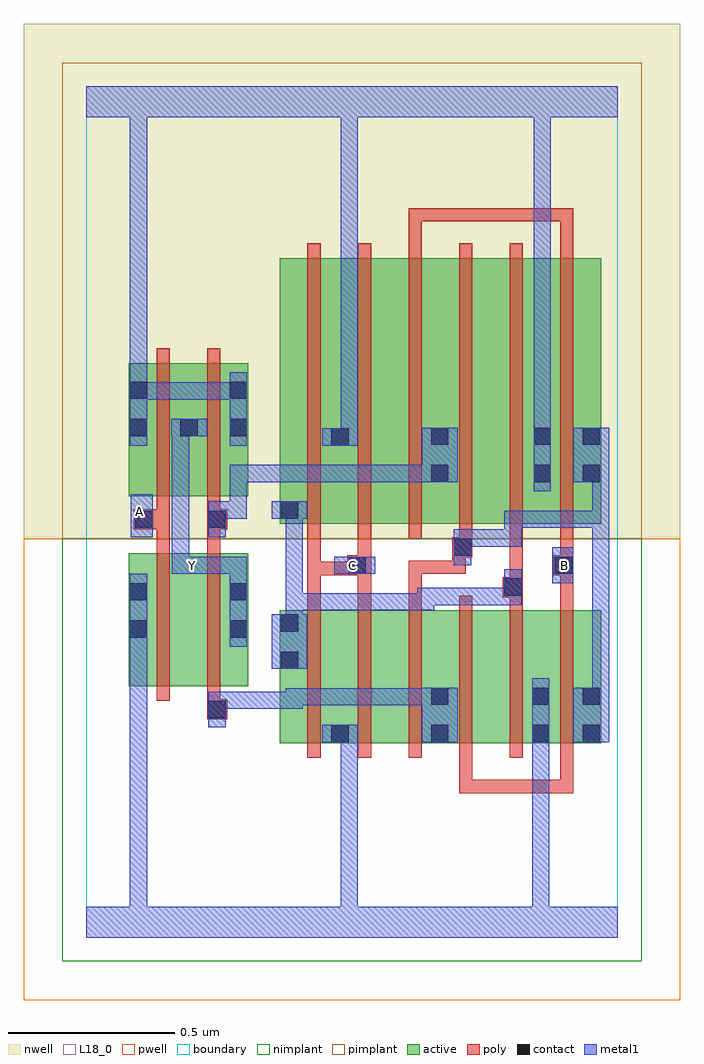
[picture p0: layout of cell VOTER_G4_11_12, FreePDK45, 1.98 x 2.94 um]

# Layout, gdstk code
import gdstk
lib = gdstk.Library(unit=1e-6, precision=1e-09)
def R(c, l, rs):  # rectangles x0, y0, x1, y1
    for r in rs: c.add(gdstk.rectangle(r[:2], r[2:], *l))
def A(c, l, x, y, w, h, nx, ny, dx, dy):  # array of equal rectangles
    R(c, l, [(x+i*dx, y+j*dy, x+i*dx+w, y+j*dy+h) for i in range(nx) for j in range(ny)])
active = (1, 0)
pwell = (2, 0)
nwell = (3, 0)
nimplant = (4, 0)
pimplant = (5, 0)
poly = (9, 0)
contact = (10, 0)
metal1 = (11, 0)
L18_0 = (18, 0)
boundary = (235, 0)

voter_g4_11_12 = lib.new_cell('VOTER_G4_11_12')
R(voter_g4_11_12, active, [(0.582,0.584,0.794,0.984), (0.734,0.584,0.914,0.984), (0.734,0.584,0.794,0.644), (0.914,0.584,1.094,0.984), (1.034,0.584,1.094,0.756), (1.034,0.584,1.218,0.984), (1.218,0.584,1.398,0.984), (1.338,0.584,1.55,0.984), (1.338,0.584,1.398,0.756), (1.49,0.584,1.55,0.984), (0.128,0.756,0.188,1.156), (0.128,0.756,0.308,1.156), (0.308,0.756,0.488,1.156), (0.428,0.756,0.488,1.156), (0.582,0.756,0.642,0.984), (0.582,1.244,0.642,2.044), (0.582,1.244,0.794,2.044), (0.734,1.244,0.794,2.044), (0.734,1.244,0.914,2.044), (0.914,1.244,1.094,2.044), (1.034,1.244,1.094,2.044), (1.034,1.244,1.218,2.044), (1.218,1.244,1.402,2.044), (1.342,1.244,1.402,2.044), (1.342,1.244,1.55,2.044), (1.49,1.244,1.55,2.044), (0.128,1.328,0.188,1.728), (0.128,1.328,0.34,1.728), (0.28,1.328,0.488,1.728), (0.28,1.328,0.34,1.644), (0.428,1.452,0.488,1.728)])
R(voter_g4_11_12, pwell, [(-0.188,-0.188,1.788,1.2)])
R(voter_g4_11_12, nwell, [(-0.188,1.2,1.788,2.748)])
R(voter_g4_11_12, nimplant, [(-0.072,-0.072,1.672,1.2)])
R(voter_g4_11_12, pimplant, [(-0.072,1.2,1.672,2.632)])
A(voter_g4_11_12, poly, 0.666, 0.54, 0.04, 0.488, 6, 1, 0.152, 0)
A(voter_g4_11_12, poly, 0.666, 1.2, 0.04, 0.888, 6, 1, 0.152, 0)
R(voter_g4_11_12, poly, [(1.122,0.434,1.162,0.58), (1.122,0.434,1.162,0.474), (1.122,0.434,1.34,0.474), (1.3,0.434,1.34,0.474), (1.3,0.434,1.34,0.474), (1.3,0.434,1.34,0.474), (1.3,0.434,1.466,0.474), (1.426,0.434,1.466,0.58), (1.426,0.434,1.466,0.474), (1.426,0.434,1.466,0.474), (1.426,0.434,1.466,0.474), (0.364,0.656,0.424,0.716), (0.364,0.676,0.404,0.752), (0.212,0.712,0.252,1.2), (0.364,0.712,0.404,1.2), (0.666,0.988,0.706,1.13), (0.818,0.988,0.858,1.13), (0.97,0.988,1.01,1.134), (1.274,0.988,1.314,1.064), (1.426,0.988,1.466,1.13), (1.254,1.024,1.314,1.084), (1.274,1.044,1.314,1.084), (1.274,1.044,1.314,1.084), (1.274,1.044,1.314,1.24), (0.666,1.09,0.706,1.13), (0.666,1.09,0.706,1.13), (0.666,1.09,0.706,1.13), (0.666,1.09,0.706,1.13), (0.666,1.09,0.706,1.13), (0.666,1.09,0.826,1.13), (0.666,1.09,0.706,1.24), (0.786,1.09,0.858,1.15), (0.818,1.09,0.858,1.13), (0.818,1.09,0.858,1.13), (1.406,1.09,1.466,1.15), (0.97,1.094,1.01,1.134), (0.97,1.094,1.01,1.134), (0.97,1.094,1.01,1.134), (0.97,1.094,1.142,1.134), (1.102,1.094,1.142,1.184), (0.818,1.11,0.858,1.24), (1.426,1.11,1.466,1.15), (1.426,1.11,1.466,1.15), (1.426,1.11,1.466,1.24), (1.102,1.144,1.142,1.184), (1.102,1.144,1.162,1.204), (0.212,1.16,0.252,1.268), (0.364,1.16,0.404,1.268), (1.122,1.164,1.162,1.24), (0.144,1.228,0.252,1.288), (0.364,1.228,0.404,1.268), (0.364,1.228,0.404,1.268), (0.364,1.228,0.424,1.288), (0.212,1.248,0.252,1.288), (0.212,1.248,0.252,1.288), (0.212,1.248,0.252,1.324), (0.364,1.248,0.404,1.324), (0.212,1.284,0.252,1.772), (0.364,1.284,0.404,1.772), (0.97,2.048,1.01,2.194), (1.426,2.048,1.466,2.194), (0.97,2.154,1.01,2.194), (0.97,2.154,1.01,2.194), (0.97,2.154,1.01,2.194), (0.97,2.154,1.162,2.194), (1.122,2.154,1.162,2.194), (1.122,2.154,1.268,2.194), (1.228,2.154,1.268,2.194), (1.228,2.154,1.268,2.194), (1.228,2.154,1.268,2.194), (1.228,2.154,1.466,2.194), (1.426,2.154,1.466,2.194), (1.426,2.154,1.466,2.194), (1.426,2.154,1.466,2.194)])
R(voter_g4_11_12, contact, [(0.738,0.588,0.79,0.64), (1.038,0.588,1.09,0.64), (1.342,0.588,1.394,0.64), (1.494,0.588,1.546,0.64), (0.368,0.66,0.42,0.712), (1.038,0.7,1.09,0.752), (1.342,0.7,1.394,0.752), (1.494,0.7,1.546,0.752), (0.586,0.808,0.638,0.86), (0.132,0.902,0.184,0.954), (0.432,0.902,0.484,0.954), (0.586,0.92,0.638,0.972), (0.132,1.014,0.184,1.066), (0.432,1.014,0.484,1.066), (1.258,1.028,1.31,1.08), (0.79,1.094,0.842,1.146), (1.41,1.094,1.462,1.146), (1.106,1.148,1.158,1.2), (0.148,1.232,0.2,1.284), (0.368,1.232,0.42,1.284), (0.586,1.26,0.638,1.312), (1.038,1.37,1.09,1.422), (1.346,1.37,1.398,1.422), (1.494,1.37,1.546,1.422), (0.738,1.48,0.79,1.532), (1.038,1.482,1.09,1.534), (1.346,1.482,1.398,1.534), (1.494,1.482,1.546,1.534), (0.132,1.508,0.184,1.56), (0.284,1.508,0.336,1.56), (0.432,1.508,0.484,1.56), (0.132,1.62,0.184,1.672), (0.432,1.62,0.484,1.672)])
A(voter_g4_11_12, metal1, 0.776, 0.984, 0.052, 0.052, 3, 1, 0.11, 0)
R(voter_g4_11_12, metal1, [(0,0,1.6,0.092), (0.132,0.04,0.184,0.926), (0.766,0.04,0.818,0.092), (0.766,0.04,0.818,0.092), (0.766,0.04,0.818,0.092), (0.766,0.04,0.818,0.092), (0.766,0.04,0.818,0.64), (1.342,0.04,1.394,0.612), (1.342,0.56,1.394,0.612), (1.342,0.56,1.394,0.612), (1.342,0.56,1.394,0.612), (1.342,0.56,1.394,0.612), (1.342,0.56,1.394,0.612), (1.342,0.56,1.394,0.612), (1.342,0.56,1.394,0.612), (1.342,0.56,1.394,0.612), (1.342,0.56,1.394,0.612), (1.342,0.56,1.394,0.612), (1.342,0.56,1.394,0.612), (1.342,0.56,1.394,0.612), (1.342,0.56,1.394,0.78), (0.71,0.588,0.818,0.64), (0.766,0.588,0.818,0.64), (0.766,0.588,0.818,0.64), (0.766,0.588,0.818,0.64), (0.766,0.588,0.818,0.64), (0.766,0.588,0.818,0.64), (0.766,0.588,0.818,0.64), (0.766,0.588,0.818,0.64), (0.766,0.588,0.818,0.64), (1.01,0.588,1.118,0.752), (1.466,0.588,1.574,0.752), (0.368,0.632,0.42,0.74), (0.368,0.688,0.484,0.74), (0.432,0.688,0.484,0.74), (0.432,0.688,0.484,0.74), (0.432,0.688,0.484,0.74), (0.432,0.688,0.484,0.74), (0.432,0.688,0.484,0.74), (0.432,0.688,0.652,0.74), (0.6,0.688,0.652,0.74), (0.6,0.688,0.652,0.74), (0.6,0.688,0.652,0.75), (0.6,0.698,0.776,0.75), (0.724,0.698,0.776,0.75), (0.724,0.698,0.776,0.75), (0.724,0.698,0.776,0.75), (0.724,0.698,0.776,0.75), (0.724,0.698,0.776,0.75), (0.724,0.698,0.776,0.75), (0.724,0.698,0.776,0.75), (0.724,0.698,0.938,0.75), (0.886,0.698,0.938,0.75), (0.886,0.698,0.938,0.75), (0.886,0.698,0.938,0.75), (0.886,0.698,1.062,0.75), (1.522,0.7,1.574,1.284), (1.522,0.7,1.574,0.752), (1.522,0.7,1.574,0.752), (0.558,0.808,0.666,0.972), (0.132,0.874,0.184,0.926), (0.132,0.874,0.184,0.926), (0.132,0.874,0.184,0.926), (0.132,0.874,0.184,0.926), (0.132,0.874,0.184,0.926), (0.132,0.874,0.184,0.926), (0.132,0.874,0.184,0.926), (0.132,0.874,0.184,0.926), (0.132,0.874,0.184,0.926), (0.132,0.874,0.184,0.926), (0.132,0.874,0.184,0.926), (0.132,0.874,0.184,0.926), (0.132,0.874,0.184,1.094), (0.432,0.874,0.484,1.094), (0.6,0.92,0.652,1.036), (0.6,0.984,0.652,1.036), (0.6,0.984,0.652,1.036), (0.6,0.984,0.652,1.036), (0.6,0.984,0.652,1.036), (0.6,0.984,0.652,1.036), (0.6,0.984,0.828,1.036), (0.6,0.984,0.652,1.312), (0.776,0.984,0.828,1.036), (0.776,0.984,0.828,1.036), (0.776,0.984,0.938,1.036), (0.886,0.984,1.048,1.036), (0.996,0.984,1.048,1.036), (0.996,0.984,1.048,1.052), (0.996,1,1.2,1.052), (1.148,1,1.2,1.052), (1.148,1,1.2,1.052), (1.148,1,1.2,1.052), (1.148,1,1.31,1.052), (1.258,1,1.31,1.108), (0.432,1.042,0.484,1.146), (1.402,1.066,1.466,1.174), (0.258,1.094,0.374,1.146), (0.258,1.094,0.31,1.56), (0.322,1.094,0.374,1.146), (0.322,1.094,0.374,1.146), (0.322,1.094,0.484,1.146), (0.432,1.094,0.484,1.146), (0.746,1.094,0.87,1.146), (1.106,1.12,1.158,1.228), (1.106,1.176,1.158,1.228), (1.106,1.176,1.158,1.228), (1.106,1.176,1.31,1.228), (1.258,1.176,1.31,1.228), (1.258,1.176,1.31,1.228), (1.258,1.176,1.31,1.284), (0.134,1.204,0.2,1.334), (0.368,1.204,0.42,1.312), (1.258,1.232,1.574,1.284), (1.522,1.232,1.574,1.422), (1.522,1.232,1.574,1.284), (1.522,1.232,1.574,1.284), (1.522,1.232,1.574,1.284), (0.368,1.26,0.484,1.312), (0.432,1.26,0.484,1.312), (0.432,1.26,0.484,1.422), (0.558,1.26,0.666,1.312), (1.346,1.342,1.398,1.562), (0.432,1.37,0.484,1.422), (0.432,1.37,0.484,1.422), (0.432,1.37,0.484,1.422), (0.432,1.37,0.594,1.422), (0.542,1.37,0.594,1.422), (0.542,1.37,0.594,1.422), (0.542,1.37,0.594,1.422), (0.542,1.37,0.828,1.422), (0.776,1.37,0.828,1.422), (0.776,1.37,0.828,1.422), (0.776,1.37,0.828,1.422), (0.776,1.37,0.828,1.422), (0.776,1.37,0.828,1.422), (0.776,1.37,0.938,1.422), (0.886,1.37,0.938,1.422), (0.886,1.37,0.938,1.422), (0.886,1.37,0.938,1.422), (0.886,1.37,1.062,1.422), (1.01,1.37,1.118,1.534), (1.466,1.37,1.574,1.534), (0.132,1.48,0.184,1.7), (0.432,1.48,0.484,1.7), (0.71,1.48,0.818,1.532), (0.766,1.48,0.818,1.532), (0.766,1.48,0.818,1.532), (0.766,1.48,0.818,1.532), (0.766,1.48,0.818,1.532), (0.766,1.48,0.818,1.532), (0.766,1.48,0.818,1.532), (0.766,1.48,0.818,1.532), (0.766,1.48,0.818,1.532), (0.766,1.48,0.818,2.52), (0.256,1.508,0.364,1.56), (0.258,1.508,0.31,1.56), (0.258,1.508,0.31,1.56), (1.346,1.51,1.398,1.562), (1.346,1.51,1.398,1.562), (1.346,1.51,1.398,1.562), (1.346,1.51,1.398,1.562), (1.346,1.51,1.398,1.562), (1.346,1.51,1.398,1.562), (1.346,1.51,1.398,1.562), (1.346,1.51,1.398,1.562), (1.346,1.51,1.398,2.52), (0.132,1.618,0.184,1.67), (0.132,1.618,0.184,1.67), (0.132,1.618,0.31,1.67), (0.258,1.618,0.31,1.67), (0.258,1.618,0.31,1.67), (0.258,1.618,0.31,1.67), (0.258,1.618,0.484,1.67), (0.132,1.648,0.184,1.7), (0.132,1.648,0.184,1.7), (0.132,1.648,0.184,1.7), (0.132,1.648,0.184,1.7), (0.132,1.648,0.184,1.7), (0.132,1.648,0.184,1.7), (0.132,1.648,0.184,1.7), (0.132,1.648,0.184,1.7), (0.132,1.648,0.184,1.7), (0.132,1.648,0.184,1.7), (0.132,1.648,0.184,1.7), (0.132,1.648,0.184,1.7), (0.132,1.648,0.184,1.7), (0.132,1.648,0.184,1.7), (0.132,1.648,0.184,2.52), (0,2.468,1.6,2.56), (0.132,2.468,0.184,2.52), (0.132,2.468,0.184,2.52)])
R(voter_g4_11_12, L18_0, [(0,0,1.6,0.092), (0.132,0.04,0.184,0.926), (0.766,0.04,0.818,0.092), (0.766,0.04,0.818,0.092), (0.766,0.04,0.818,0.092), (0.766,0.04,0.818,0.092), (0.766,0.04,0.818,0.64), (1.342,0.04,1.394,0.612), (1.342,0.56,1.394,0.612), (1.342,0.56,1.394,0.612), (1.342,0.56,1.394,0.612), (1.342,0.56,1.394,0.612), (1.342,0.56,1.394,0.612), (1.342,0.56,1.394,0.612), (1.342,0.56,1.394,0.612), (1.342,0.56,1.394,0.612), (1.342,0.56,1.394,0.612), (1.342,0.56,1.394,0.612), (1.342,0.56,1.394,0.612), (1.342,0.56,1.394,0.612), (1.342,0.56,1.394,0.78), (0.71,0.588,0.818,0.64), (0.766,0.588,0.818,0.64), (0.766,0.588,0.818,0.64), (0.766,0.588,0.818,0.64), (0.766,0.588,0.818,0.64), (0.766,0.588,0.818,0.64), (0.766,0.588,0.818,0.64), (0.766,0.588,0.818,0.64), (0.766,0.588,0.818,0.64), (0.132,0.874,0.184,0.926), (0.132,0.874,0.184,0.926), (0.132,0.874,0.184,0.926), (0.132,0.874,0.184,0.926), (0.132,0.874,0.184,0.926), (0.132,0.874,0.184,0.926), (0.132,0.874,0.184,0.926), (0.132,0.874,0.184,0.926), (0.132,0.874,0.184,0.926), (0.132,0.874,0.184,0.926), (0.132,0.874,0.184,0.926), (0.132,0.874,0.184,0.926), (0.132,0.874,0.184,1.094), (0.432,0.874,0.484,1.094), (0.432,1.042,0.484,1.146), (1.402,1.066,1.466,1.174), (0.258,1.094,0.374,1.146), (0.258,1.094,0.31,1.56), (0.294,1.094,0.346,1.146), (0.322,1.094,0.374,1.146), (0.322,1.094,0.374,1.146), (0.322,1.094,0.484,1.146), (0.432,1.094,0.484,1.146), (0.746,1.094,0.87,1.146), (0.774,1.094,0.826,1.146), (1.414,1.094,1.466,1.146), (0.134,1.204,0.2,1.334), (0.134,1.254,0.186,1.306), (1.346,1.342,1.398,1.562), (0.132,1.48,0.184,1.7), (0.432,1.48,0.484,1.7), (0.71,1.48,0.818,1.532), (0.766,1.48,0.818,1.532), (0.766,1.48,0.818,1.532), (0.766,1.48,0.818,1.532), (0.766,1.48,0.818,1.532), (0.766,1.48,0.818,1.532), (0.766,1.48,0.818,1.532), (0.766,1.48,0.818,1.532), (0.766,1.48,0.818,1.532), (0.766,1.48,0.818,2.52), (0.256,1.508,0.364,1.56), (0.258,1.508,0.31,1.56), (0.258,1.508,0.31,1.56), (1.346,1.51,1.398,1.562), (1.346,1.51,1.398,1.562), (1.346,1.51,1.398,1.562), (1.346,1.51,1.398,1.562), (1.346,1.51,1.398,1.562), (1.346,1.51,1.398,1.562), (1.346,1.51,1.398,1.562), (1.346,1.51,1.398,1.562), (1.346,1.51,1.398,2.52), (0.132,1.618,0.184,1.67), (0.132,1.618,0.184,1.67), (0.132,1.618,0.31,1.67), (0.258,1.618,0.31,1.67), (0.258,1.618,0.31,1.67), (0.258,1.618,0.31,1.67), (0.258,1.618,0.484,1.67), (0.132,1.648,0.184,1.7), (0.132,1.648,0.184,1.7), (0.132,1.648,0.184,1.7), (0.132,1.648,0.184,1.7), (0.132,1.648,0.184,1.7), (0.132,1.648,0.184,1.7), (0.132,1.648,0.184,1.7), (0.132,1.648,0.184,1.7), (0.132,1.648,0.184,1.7), (0.132,1.648,0.184,1.7), (0.132,1.648,0.184,1.7), (0.132,1.648,0.184,1.7), (0.132,1.648,0.184,1.7), (0.132,1.648,0.184,1.7), (0.132,1.648,0.184,2.52), (0,2.468,1.6,2.56), (0.132,2.468,0.184,2.52), (0.132,2.468,0.184,2.52)])
R(voter_g4_11_12, boundary, [(0,0,1.6,2.56)])
voter_g4_11_12.add(gdstk.Label('A', (0.16,1.28), layer=11, texttype=0))
voter_g4_11_12.add(gdstk.Label('B', (1.44,1.12), layer=11, texttype=0))
voter_g4_11_12.add(gdstk.Label('C', (0.8,1.12), layer=11, texttype=0))
voter_g4_11_12.add(gdstk.Label('Y', (0.32,1.12), layer=11, texttype=0))

lib.write_gds('VOTER_G4_11_12.gds')
